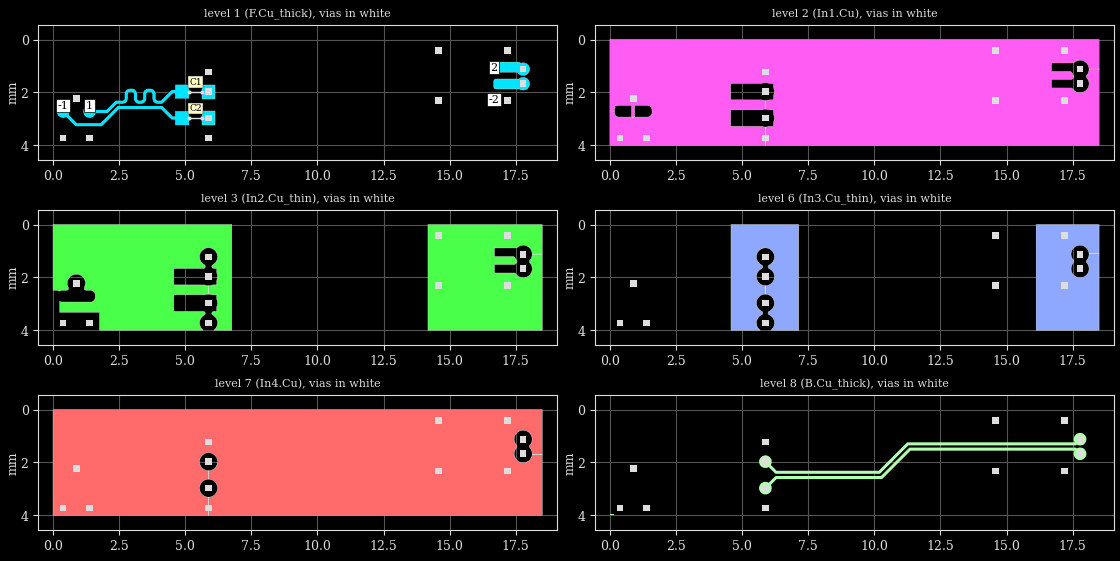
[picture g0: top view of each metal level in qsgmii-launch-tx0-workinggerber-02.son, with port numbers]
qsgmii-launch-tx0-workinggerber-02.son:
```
FTYP SONPROJ 19 ! Sonnet Project File
VER 18.56
HEADER
LIC antikernel2.1.65565
DAT 12/27/2024 07:33:47
BUILT_BY_CREATED xgeom 18.52 11/18/2021 20:28:07
BUILT_BY_SAVED sonnet 18.56
MDATE 12/27/2024 07:33:29
HDATE 12/27/2024 07:33:29
ANN Created by dxfgeo, Sonnet Software Inc.
END HEADER
DIM
ANG DEG
CAP PF
CON /OH
FREQ GHZ
IND NH
LNG MM
RES OH
END DIM
CONTROL
VARSWP
OPTIONS  -dj
SPEED 1
CACHE_ABS 2
Q_ACC N
END CONTROL
GEO
TMET "Free Space" 0 FREESPACE 376.7303136 0 0 0
BMET "Free Space" 0 FREESPACE 376.7303136 0 0 0
MET "Copper_1oz_thin" 1 NOR 58000000 0.5 0.035 
MET "Copper_1oz_thick" 2 TMM 58000000 0.5 0.035 2
MET "Copper_1oz_thick_down" 3 TMM 58000000 0.5 0.035 2 CDVY TDWN
MET "Copper_0.5oz_thin" 4 NOR 58000000 0.5 0.017 
MET "Copper_0.5oz_thick" 12 TMM 58000000 0.5 0.017 2
MET "Copper_0.5oz_thick_down" 5 TMM 58000000 0.5 0.017 2 CDVY TDWN
BOX 10 18.5 4 1850 400 20 0
      5 1 1 0 0 0 0 "Air"
      0.04 3.5 1 0.025 0 0 0 "Soldermask"
      0.095 4.27 1 0.019 0 0 0 "Shengyi_S1000-2MB PP 3313 56%"
      0.1 4.24 1 0.019 0 0 0 "Shengyi_S1000-2M 0.1mm 3313"
      0.114 4.36 1 0.019 0 0 0 "Shengyi_S1000-2MB 2116 54% PP"
      0.77 4.58 1 0.016 0 0 0 "Shengyi_S1000-2M 0.8mm core"
      0.114 4.36 1 0.019 0 0 0 "Shengyi_S1000-2MB 2116 54% PP"
      0.1 4.24 1 0.019 0 0 0 "Shengyi_S1000-2M 0.1mm 3313"
      0.095 4.27 1 0.019 0 0 0 "Shengyi_S1000-2MB PP 3313 56%"
      0.04 3.5 1 0.025 0 0 0 "Soldermask"
      5 1 1 0 0 0 0 "Air"
TECHLAY METAL F.Cu_thick L1D0 -2 -65534 CAD F.Cu_thick drawing 
1 0 1 N 790 1 1 100 100 0 0 0 Y
END
END
TECHLAY METAL F.Cu_thin <UNSPECIFIED> -1 -65534 CAD F.Cu_thin drawing 
1 0 0 N 792 1 1 100 100 0 0 0 Y
END
END
TECHLAY VIA Via1 L7D0 -13 -65534 CAD Via1 drawing 
VIA POLYGON
1 0 -1 N 1077 1 1 100 100 0 0 0 Y
TOLEVEL 8 RING NOCOVERS
END
END
TECHLAY METAL In1.Cu L2D0 -3 -65534 CAD In1.Cu drawing 
2 0 0 N 797 1 1 100 100 0 0 0 Y
END
END
TECHLAY METAL In2.Cu_thin L3D0 -4 -65534 CAD In2.Cu drawing 
3 0 3 N 800 1 1 100 100 0 0 0 Y
END
END
TECHLAY METAL In2.Cu_thick <UNSPECIFIED> -5 -65534 CAD In2.Cu_thick drawing 
3 0 4 N 802 1 1 100 100 0 0 0 Y
END
END
TECHLAY METAL In3.Cu_thin L4D0 -8 -65534 CAD In5.Cu drawing 
6 0 3 N 807 1 1 100 100 0 0 0 Y
END
END
TECHLAY METAL In3.Cu <UNSPECIFIED> -6 -65534 CAD In3.Cu drawing 
6 0 0 N 809 1 1 100 100 0 0 0 Y
END
END
TECHLAY METAL In4.Cu L5D0 -10 -65534 CAD In6.Cu drawing 
7 0 0 N 812 1 1 100 100 0 0 0 Y
END
END
TECHLAY METAL B.Cu_thick L6D0 -12 -65534 CAD B.Cu_thick drawing 
8 0 2 N 815 1 1 100 100 0 0 0 Y
END
END
TECHLAY METAL B.Cu_thin <UNSPECIFIED> -11 -65534 CAD B.Cu_thin drawing 
8 0 0 N 817 1 1 100 100 0 0 0 Y
END
END
TECHLAY METAL In3.Cu_thick <UNSPECIFIED> -9 -65534 CAD In5.Cu_thick drawing 
10 0 5 N 821 1 1 100 100 0 0 0 Y
END
END
VALVAR WIDTH LNG 0.1 "Dim. Param."
VALVAR WIDTH2 LNG "WIDTH" "Dim. Param."
VALVAR SPACE LNG 0.15 "Dim. Param."
LORGN 0 4 U 
POR1 CUP Auto
GNDREF FLOAT
TERMW FEED
POLY 47 1
84
2 100 0 0 0 16.669 1.047 
CUPGRP "Auto" LOCAL
ID 1073
END
POR1 CUP Auto
GNDREF FLOAT
TERMW FEED
POLY 48 1
78
-2 100 0 0 0 16.669 1.682 
CUPGRP "Auto" LOCAL
ID 1074
END
POR1 CUP Auto
GNDREF FLOAT
TERMW FEED
POLY 1010 1
335
1 100 0 0 0 1.381 2.5 
CUPGRP "Auto" LOCAL
ID 1075
END
POR1 CUP Auto
GNDREF FLOAT
TERMW FEED
POLY 1011 1
58
-1 100 0 0 0 0.381 2.5 
CUPGRP "Auto" LOCAL
ID 1076
END
SMD 1 "C1"
ID 1046
GNDREF FLOAT
SBOX 5.2625 5.4995 1.93645 2.00755
PBSHW N
LPOS 5.381 1.93645
TYPE IDEAL CAP 100000
SMDP 1 5.144 1.972 L 3 1 
EXSMDP
GNDREF AUTO
TERMW FEED
END EXSMDP
SMDP 1 5.618 1.972 R 4 2 
EXSMDP
GNDREF AUTO
TERMW FEED
END EXSMDP
END
SMD 1 "C2"
ID 1051
GNDREF FLOAT
SBOX 5.2625 5.4995 2.93645 3.00755
PBSHW N
LPOS 5.381 2.93645
TYPE IDEAL CAP 100000
SMDP 1 5.144 2.972 L 5 1 
EXSMDP
GNDREF AUTO
TERMW FEED
END EXSMDP
SMDP 1 5.618 2.972 R 6 2 
EXSMDP
GNDREF AUTO
TERMW FEED
END EXSMDP
END
NUM 28
1 88 1 N 47 1 1 100 100 0 0 0 Y
TLAYNAM F.Cu_thick INH
16.668 0.943
16.669 0.934
16.671 0.926
16.674 0.917
16.677 0.91
16.681 0.902
16.691 0.888
16.697 0.882
16.711 0.872
16.719 0.868
16.726 0.865
16.735 0.862
16.743 0.86
16.752 0.859
17.611 0.859
17.619 0.86
17.628 0.862
17.644 0.868
17.651 0.872
17.659 0.877
17.665 0.882
17.671 0.888
17.677 0.895
17.682 0.902
17.683 0.904
17.7 0.897
17.723 0.89
17.746 0.885
17.769 0.883
17.793 0.883
17.816 0.885
17.839 0.89
17.862 0.897
17.883 0.906
17.904 0.917
17.924 0.93
17.942 0.945
17.958 0.961
17.973 0.979
17.986 0.999
17.997 1.02
18.006 1.041
18.013 1.064
18.018 1.087
18.02 1.11
18.02 1.134
18.018 1.157
18.013 1.18
18.006 1.203
17.997 1.224
17.986 1.245
17.973 1.265
17.958 1.283
17.942 1.299
17.924 1.314
17.904 1.327
17.883 1.338
17.862 1.347
17.842 1.353
17.72 1.353
17.7 1.347
17.679 1.338
17.658 1.327
17.638 1.314
17.62 1.299
17.604 1.283
17.589 1.265
17.576 1.245
17.571 1.235
16.752 1.235
16.743 1.234
16.735 1.232
16.726 1.229
16.719 1.226
16.711 1.222
16.697 1.212
16.691 1.206
16.681 1.192
16.677 1.184
16.674 1.177
16.671 1.168
16.669 1.16
16.668 1.151
16.668 1.143
16.669 1.134
16.669 0.96
16.668 0.951
16.668 0.943
END
1 82 1 N 48 1 1 100 100 0 0 0 Y
TLAYNAM F.Cu_thick INH
16.668 1.578
16.669 1.569
16.671 1.561
16.674 1.552
16.677 1.545
16.681 1.537
16.691 1.523
16.697 1.517
16.711 1.507
16.719 1.503
16.726 1.5
16.735 1.497
16.743 1.495
16.752 1.494
17.611 1.494
17.619 1.495
17.62 1.495
17.638 1.48
17.658 1.467
17.679 1.456
17.7 1.447
17.72 1.441
17.842 1.441
17.862 1.447
17.883 1.456
17.904 1.467
17.924 1.48
17.942 1.495
17.958 1.511
17.973 1.529
17.986 1.549
17.997 1.57
18.006 1.591
18.013 1.614
18.018 1.637
18.02 1.66
18.02 1.684
18.018 1.707
18.013 1.73
18.006 1.753
17.997 1.774
17.986 1.795
17.973 1.815
17.958 1.833
17.942 1.849
17.924 1.864
17.904 1.877
17.883 1.888
17.862 1.897
17.839 1.904
17.816 1.909
17.793 1.911
17.769 1.911
17.746 1.909
17.723 1.904
17.7 1.897
17.679 1.888
17.658 1.877
17.638 1.864
17.637 1.863
17.628 1.867
17.619 1.869
17.611 1.87
16.752 1.87
16.743 1.869
16.735 1.867
16.726 1.864
16.719 1.861
16.711 1.857
16.697 1.847
16.691 1.841
16.681 1.827
16.677 1.819
16.674 1.812
16.671 1.803
16.669 1.795
16.668 1.786
16.668 1.778
16.669 1.769
16.669 1.595
16.668 1.586
16.668 1.578
END
1 5 1 N 75 1 1 100 100 0 0 0 Y
TLAYNAM F.Cu_thick INH
5.618 1.709
6.144 1.709
6.144 2.235
5.618 2.235
5.618 1.709
END
1 5 1 N 92 1 1 100 100 0 0 0 Y
TLAYNAM F.Cu_thick INH
5.618 2.709
6.144 2.709
6.144 3.235
5.618 3.235
5.618 2.709
END
1 367 1 N 1010 1 1 100 100 0 0 0 Y
TLAYNAM F.Cu_thick INH
1.416 2.957
1.439 2.953
1.461 2.946
1.483 2.937
1.503 2.926
1.523 2.913
1.541 2.898
1.557 2.882
1.572 2.864
1.585 2.844
1.596 2.824
1.605 2.802
1.612 2.78
2.043 2.78
2.049 2.779
2.054 2.778
2.06 2.776
2.07 2.772
2.074 2.768
2.079 2.765
2.414 2.43
2.632 2.43
2.637 2.429
2.641 2.428
2.642 2.428
2.69 2.418
2.692 2.418
2.697 2.417
2.703 2.415
2.708 2.414
2.718 2.408
2.72 2.407
2.722 2.405
2.762 2.375
2.77 2.37
2.778 2.362
2.779 2.36
2.78 2.359
2.781 2.357
2.783 2.355
2.787 2.347
2.807 2.311
2.813 2.301
2.814 2.3
2.816 2.294
2.818 2.289
2.818 2.288
2.819 2.286
2.826 2.238
2.826 2.064
2.831 2.036
2.849 2.005
2.876 1.985
2.913 1.977
2.981 1.977
3.001 1.981
3.031 1.998
3.052 2.027
3.06 2.064
3.06 2.236
3.061 2.241
3.062 2.245
3.062 2.246
3.074 2.304
3.076 2.31
3.078 2.315
3.084 2.325
3.092 2.333
3.113 2.361
3.116 2.366
3.119 2.37
3.12 2.371
3.122 2.375
3.126 2.379
3.131 2.383
3.135 2.386
3.191 2.418
3.197 2.42
3.202 2.422
3.204 2.422
3.206 2.423
3.253 2.43
3.332 2.43
3.337 2.429
3.341 2.428
3.342 2.428
3.39 2.418
3.391 2.418
3.397 2.417
3.403 2.415
3.408 2.414
3.418 2.408
3.42 2.407
3.422 2.405
3.462 2.375
3.47 2.37
3.478 2.362
3.479 2.36
3.48 2.359
3.481 2.357
3.483 2.355
3.487 2.347
3.507 2.311
3.513 2.301
3.514 2.3
3.516 2.294
3.518 2.289
3.518 2.288
3.519 2.286
3.526 2.238
3.526 2.064
3.531 2.034
3.547 2.006
3.576 1.985
3.613 1.977
3.681 1.977
3.701 1.981
3.731 1.998
3.752 2.027
3.76 2.064
3.76 2.236
3.761 2.241
3.762 2.245
3.762 2.246
3.774 2.304
3.776 2.31
3.778 2.315
3.784 2.325
3.792 2.333
3.813 2.361
3.816 2.366
3.819 2.37
3.82 2.371
3.822 2.375
3.826 2.379
3.831 2.383
3.835 2.386
3.891 2.418
3.897 2.42
3.902 2.422
3.904 2.422
3.906 2.423
3.953 2.43
4.109 2.43
4.114 2.429
4.12 2.428
4.125 2.426
4.131 2.424
4.136 2.422
4.14 2.418
4.145 2.415
4.53 2.03
4.618 2.03
4.618 2.235
5.144 2.235
5.144 1.709
4.618 1.709
4.618 1.914
4.503 1.914
4.498 1.915
4.492 1.916
4.487 1.918
4.481 1.92
4.476 1.922
4.472 1.926
4.467 1.929
4.082 2.314
3.956 2.314
3.936 2.31
3.906 2.293
3.883 2.262
3.876 2.227
3.876 2.055
3.875 2.05
3.874 2.046
3.874 2.045
3.864 1.997
3.864 1.995
3.863 1.991
3.863 1.99
3.862 1.987
3.861 1.985
3.86 1.982
3.86 1.98
3.858 1.976
3.852 1.966
3.849 1.963
3.824 1.93
3.821 1.925
3.818 1.921
3.817 1.92
3.815 1.916
3.811 1.912
3.806 1.908
3.802 1.905
3.746 1.873
3.74 1.871
3.735 1.869
3.733 1.869
3.731 1.868
3.684 1.861
3.604 1.861
3.599 1.862
3.595 1.863
3.594 1.863
3.546 1.873
3.544 1.873
3.54 1.874
3.539 1.874
3.536 1.875
3.534 1.876
3.531 1.876
3.53 1.877
3.529 1.877
3.525 1.879
3.515 1.885
3.512 1.888
3.479 1.913
3.474 1.916
3.47 1.919
3.469 1.92
3.465 1.922
3.461 1.926
3.457 1.931
3.454 1.935
3.422 1.991
3.42 1.997
3.418 2.002
3.417 2.007
3.416 2.013
3.416 2.019
3.412 2.044
3.412 2.045
3.411 2.051
3.41 2.056
3.41 2.235
3.406 2.255
3.388 2.286
3.361 2.306
3.323 2.314
3.255 2.314
3.236 2.31
3.206 2.293
3.183 2.262
3.176 2.227
3.176 2.055
3.175 2.05
3.174 2.046
3.174 2.045
3.164 1.997
3.164 1.995
3.163 1.991
3.163 1.99
3.162 1.987
3.161 1.985
3.16 1.982
3.16 1.98
3.158 1.976
3.152 1.966
3.149 1.963
3.124 1.93
3.121 1.925
3.118 1.921
3.117 1.92
3.115 1.916
3.111 1.912
3.106 1.908
3.102 1.905
3.046 1.873
3.04 1.871
3.035 1.869
3.034 1.869
3.032 1.868
2.984 1.861
2.904 1.861
2.899 1.862
2.895 1.863
2.894 1.863
2.846 1.873
2.844 1.873
2.84 1.874
2.839 1.874
2.836 1.875
2.834 1.876
2.831 1.876
2.83 1.877
2.829 1.877
2.825 1.879
2.815 1.885
2.812 1.888
2.775 1.916
2.767 1.921
2.759 1.929
2.758 1.931
2.757 1.932
2.756 1.934
2.754 1.936
2.75 1.944
2.73 1.98
2.724 1.99
2.723 1.991
2.721 1.997
2.719 2.002
2.718 2.004
2.718 2.007
2.717 2.013
2.712 2.044
2.712 2.045
2.711 2.051
2.71 2.056
2.71 2.235
2.706 2.255
2.688 2.286
2.661 2.306
2.623 2.314
2.386 2.314
2.381 2.315
2.375 2.316
2.37 2.318
2.364 2.32
2.359 2.322
2.355 2.326
2.35 2.329
2.344 2.335
2.016 2.664
1.612 2.664
1.605 2.642
1.596 2.62
1.585 2.6
1.572 2.58
1.557 2.562
1.541 2.546
1.523 2.531
1.503 2.518
1.483 2.507
1.465888889 2.5
1.296111111 2.5
1.279 2.507
1.259 2.518
1.239 2.531
1.221 2.546
1.205 2.562
1.19 2.58
1.177 2.6
1.166 2.62
1.157 2.642
1.15 2.664
1.146 2.687
1.144 2.71
1.144 2.734
1.146 2.757
1.15 2.78
1.157 2.802
1.166 2.824
1.177 2.844
1.19 2.864
1.205 2.882
1.221 2.898
1.239 2.913
1.259 2.926
1.279 2.937
1.301 2.946
1.323 2.953
1.346 2.957
1.369 2.959
1.393 2.959
1.416 2.957
END
1 104 1 N 1011 1 1 100 100 0 0 0 Y
TLAYNAM F.Cu_thick INH
1.831 3.279
1.836 3.278
1.842 3.276
1.852 3.272
1.857 3.268
1.861 3.265
2.496 2.63
4.082 2.63
4.467 3.015
4.472 3.018
4.476 3.022
4.481 3.024
4.487 3.026
4.492 3.028
4.498 3.029
4.503 3.03
4.618 3.03
4.618 3.235
5.144 3.235
5.144 2.709
4.618 2.709
4.618 2.914
4.53 2.914
4.145 2.529
4.14 2.526
4.136 2.522
4.131 2.52
4.125 2.518
4.12 2.516
4.114 2.515
4.109 2.514
2.469 2.514
2.463 2.515
2.458 2.516
2.452 2.518
2.442 2.522
2.438 2.526
2.433 2.529
1.798 3.164
0.905 3.164
0.585 2.844
0.596 2.824
0.605 2.802
0.612 2.78
0.616 2.757
0.618 2.734
0.618 2.71
0.616 2.687
0.612 2.664
0.605 2.642
0.596 2.62
0.585 2.6
0.572 2.58
0.557 2.562
0.541 2.546
0.523 2.531
0.503 2.518
0.483 2.507
0.4658888889 2.5
0.2961111111 2.5
0.279 2.507
0.259 2.518
0.239 2.531
0.221 2.546
0.205 2.562
0.19 2.58
0.177 2.6
0.166 2.62
0.157 2.642
0.15 2.664
0.146 2.687
0.144 2.71
0.144 2.734
0.146 2.757
0.15 2.78
0.157 2.802
0.166 2.824
0.177 2.844
0.19 2.864
0.205 2.882
0.221 2.898
0.239 2.913
0.259 2.926
0.279 2.937
0.301 2.946
0.323 2.953
0.346 2.957
0.369 2.959
0.393 2.959
0.416 2.957
0.439 2.953
0.461 2.946
0.483 2.937
0.503 2.926
0.842 3.265
0.847 3.268
0.851 3.272
0.856 3.274
0.862 3.276
0.867 3.278
0.873 3.279
0.878 3.28
1.825 3.28
1.831 3.279
END
VIA POLYGON
1 5 -1 N 547 1 1 100 100 0 0 0 Y
TOLEVEL 8 RING NOCOVERS
TLAYNAM Via1 INH
14.456 0.287
14.706 0.287
14.706 0.537
14.456 0.537
14.456 0.287
END
VIA POLYGON
1 5 -1 N 548 1 1 100 100 0 0 0 Y
TOLEVEL 8 RING NOCOVERS
TLAYNAM Via1 INH
14.456 2.192
14.706 2.192
14.706 2.442
14.456 2.442
14.456 2.192
END
VIA POLYGON
1 5 -1 N 554 1 1 100 100 0 0 0 Y
TOLEVEL 8 RING NOCOVERS
TLAYNAM Via1 INH
17.056 0.287
17.306 0.287
17.306 0.537
17.056 0.537
17.056 0.287
END
VIA POLYGON
1 5 -1 N 555 1 1 100 100 0 0 0 Y
TOLEVEL 8 RING NOCOVERS
TLAYNAM Via1 INH
17.056 2.192
17.306 2.192
17.306 2.442
17.056 2.442
17.056 2.192
END
VIA POLYGON
1 5 -1 N 560 1 1 100 100 0 0 0 Y
TOLEVEL 8 RING NOCOVERS
TLAYNAM Via1 INH
5.756 1.097
6.006 1.097
6.006 1.347
5.756 1.347
5.756 1.097
END
VIA POLYGON
1 5 -1 N 561 1 1 100 100 0 0 0 Y
TOLEVEL 8 RING NOCOVERS
TLAYNAM Via1 INH
5.756 1.847
6.006 1.847
6.006 2.097
5.756 2.097
5.756 1.847
END
VIA POLYGON
1 5 -1 N 562 1 1 100 100 0 0 0 Y
TOLEVEL 8 RING NOCOVERS
TLAYNAM Via1 INH
17.656 0.997
17.906 0.997
17.906 1.247
17.656 1.247
17.656 0.997
END
VIA POLYGON
1 5 -1 N 563 1 1 100 100 0 0 0 Y
TOLEVEL 8 RING NOCOVERS
TLAYNAM Via1 INH
17.656 1.547
17.906 1.547
17.906 1.797
17.656 1.797
17.656 1.547
END
VIA POLYGON
1 5 -1 N 568 1 1 100 100 0 0 0 Y
TOLEVEL 8 RING NOCOVERS
TLAYNAM Via1 INH
5.756 2.847
6.006 2.847
6.006 3.097
5.756 3.097
5.756 2.847
END
VIA POLYGON
1 5 -1 N 569 1 1 100 100 0 0 0 Y
TOLEVEL 8 RING NOCOVERS
TLAYNAM Via1 INH
5.756 3.597
6.006 3.597
6.006 3.847
5.756 3.847
5.756 3.597
END
VIA POLYGON
1 5 -1 N 619 1 1 100 100 0 0 0 Y
TOLEVEL 8 RING NOCOVERS
TLAYNAM Via1 INH
0.256 3.597
0.506 3.597
0.506 3.847
0.256 3.847
0.256 3.597
END
VIA POLYGON
1 5 -1 N 622 1 1 100 100 0 0 0 Y
TOLEVEL 8 RING NOCOVERS
TLAYNAM Via1 INH
0.756 2.097
1.006 2.097
1.006 2.347
0.756 2.347
0.756 2.097
END
VIA POLYGON
1 5 -1 N 627 1 1 100 100 0 0 0 Y
TOLEVEL 8 RING NOCOVERS
TLAYNAM Via1 INH
1.256 3.597
1.506 3.597
1.506 3.847
1.256 3.847
1.256 3.597
END
2 243 0 N 997 1 1 100 100 0 0 0 Y
TLAYNAM In1.Cu INH
18.5 1.118
18.5 1.118
18.123 1.118
18.118 1.18
18.101 1.241
18.074 1.298
18.036 1.348
18.028 1.358
18.022 1.369
18.018 1.381
18.016 1.394
18.017 1.407
18.02 1.419
18.025 1.431
18.032 1.442
18.041 1.451
18.051 1.462
18.085 1.516
18.109 1.575
18.122 1.637
18.123 1.701
18.112 1.764
18.09 1.824
18.057 1.878
18.014 1.926
17.963 1.964
17.906 1.993
17.845 2.011
17.787 2.017
17.775 2.017
17.714 2.01
17.65 1.991
17.592 1.959
17.54 1.917
17.498 1.866
17.491 1.856
17.482 1.848
17.472 1.841
17.461 1.836
17.449 1.834
17.437 1.833
17.425 1.834
16.695 1.833
16.695 1.511
17.411 1.51
17.426 1.511
17.441 1.51
17.455 1.506
17.469 1.5
17.482 1.492
17.493 1.482
17.501 1.476
17.508 1.469
17.514 1.461
17.525 1.451
17.534 1.439
17.541 1.425
17.545 1.41
17.546 1.395
17.544 1.38
17.54 1.365
17.532 1.351
17.522 1.34
17.51 1.33
17.506 1.323
17.466 1.251
17.46 1.241
17.452 1.233
17.442 1.226
17.428 1.218
17.413 1.212
17.397 1.209
16.695 1.209
16.695 0.885
16.722 0.886
17.488 0.885
17.502 0.885
17.516 0.883
17.529 0.878
17.553 0.867
17.589 0.841
17.621 0.825
17.626 0.823
17.648 0.812
17.659 0.805
17.67 0.799
17.683 0.796
17.695 0.794
17.755 0.782
17.795 0.78
17.798 0.779
17.85 0.785
17.903 0.801
17.951 0.826
17.984 0.848
18.031 0.889
18.07 0.939
18.098 0.995
18.116 1.055
18.123 1.118
18.5 1.118
18.5 0
0 0
0 2.704
0.168 2.704
0.173 2.646
0.189 2.591
0.193 2.578
0.195 2.564
0.193 2.551
0.19 2.538
0.184 2.526
0.175 2.515
0.1683333333 2.509
0.208 2.509
0.223 2.512
0.239 2.513
0.254 2.511
0.269 2.507
0.314 2.489
0.322 2.487
0.823 2.487
0.823 2.934
0.939 2.934
0.939 2.487
1.439 2.487
1.46 2.49
1.481 2.498
1.5 2.508
1.518 2.521
1.531 2.531
1.543 2.542
1.554 2.555
1.571 2.582
1.582 2.607
1.59 2.636
1.594 2.735
1.595 2.769
1.589 2.802
1.578 2.833
1.56 2.862
1.538 2.887
1.511 2.907
1.481 2.922
1.449 2.931
1.416 2.934
0.939 2.934
0.823 2.934
0.823 2.934
0.34 2.934
0.311 2.931
0.282 2.923
0.255 2.911
0.231 2.893
0.21 2.872
0.194 2.847
0.182 2.82
0.175 2.791
0.173 2.762
0.168 2.704
0 2.704
0 2.704
0 4
5.886 4
5.886 3.313
5.87 3.313
5.834 3.31
5.799 3.302
5.738 3.285
5.731 3.285
4.569 3.283
4.569 2.661
4.712 2.66
5.728 2.66
5.75 2.656
5.78 2.646
5.825 2.635
5.87 2.632
5.87 2.313
5.87 2.313
5.834 2.31
5.799 2.302
5.738 2.285
5.731 2.285
4.569 2.283
4.569 1.661
4.573 1.661
4.712 1.66
5.719 1.66
5.75 1.655
5.78 1.646
5.84 1.635
5.878 1.633
5.89 1.633
5.932 1.636
5.973 1.645
6.028 1.659
6.191 1.661
6.194 1.827
6.201 1.853
6.217 1.912
6.222 1.974
6.216 2.035
6.199 2.095
6.194 2.115
6.192 2.135
6.194 2.156
6.191 2.283
6.068 2.284
6.04 2.283
6.012 2.288
5.986 2.297
5.937 2.308
5.886 2.313
5.87 2.313
5.87 2.632
5.875 2.632
5.919 2.636
5.937 2.637
5.983 2.647
6.004 2.655
6.026 2.659
6.049 2.66
6.191 2.661
6.194 2.827
6.201 2.853
6.217 2.912
6.222 2.974
6.216 3.035
6.199 3.095
6.194 3.115
6.192 3.135
6.194 3.156
6.191 3.283
6.068 3.284
6.04 3.283
6.012 3.288
5.986 3.297
5.937 3.308
5.886 3.313
5.886 4
18.5 4
18.5 1.118
END
3 105 3 N 1019 1 1 100 100 0 0 0 Y
TLAYNAM In2.Cu_thin INH
18.5 2.34
18.5 1.118
18.123 1.118
18.118 1.18
18.101 1.241
18.074 1.298
18.036 1.348
18.028 1.358
18.022 1.369
18.018 1.381
18.016 1.394
18.017 1.407
18.02 1.419
18.025 1.431
18.032 1.442
18.041 1.451
18.051 1.462
18.085 1.516
18.109 1.575
18.122 1.637
18.123 1.701
18.112 1.764
18.09 1.824
18.057 1.878
18.014 1.926
17.963 1.964
17.906 1.993
17.845 2.011
17.787 2.017
17.775 2.017
17.714 2.01
17.65 1.99
17.592 1.959
17.54 1.917
17.498 1.866
17.491 1.856
17.482 1.848
17.472 1.841
17.461 1.836
17.449 1.834
17.437 1.833
17.425 1.834
16.695 1.833
16.695 1.511
17.411 1.51
17.424 1.512
17.438 1.512
17.452 1.509
17.465 1.504
17.477 1.497
17.487 1.488
17.514 1.461
17.525 1.451
17.534 1.439
17.541 1.425
17.545 1.41
17.546 1.395
17.544 1.38
17.54 1.365
17.532 1.351
17.522 1.34
17.51 1.33
17.506 1.323
17.466 1.251
17.46 1.241
17.452 1.233
17.442 1.226
17.428 1.218
17.413 1.212
17.397 1.209
16.695 1.209
16.695 0.885
16.722 0.886
17.488 0.885
17.502 0.885
17.516 0.883
17.529 0.878
17.553 0.867
17.589 0.841
17.621 0.825
17.626 0.823
17.648 0.812
17.659 0.805
17.67 0.799
17.683 0.796
17.695 0.794
17.755 0.782
17.795 0.78
17.798 0.779
17.85 0.785
17.903 0.801
17.951 0.826
17.984 0.848
18.031 0.889
18.07 0.939
18.098 0.995
18.116 1.055
18.123 1.118
18.5 1.118
18.5 1.118
18.5 0
14.18 0
14.18 4
18.5 4
18.5 2.34
END
3 261 3 N 1029 1 1 100 100 0 0 0 Y
TLAYNAM In2.Cu_thin INH
6.76 0.82
6.76 0
0 0
0 0.82
0 2.485
0.1741818182 2.485
0.178 2.491
0.187 2.5
0.197 2.508
0.208 2.513
0.22 2.516
0.233 2.518
0.246 2.516
0.258 2.513
0.269 2.507
0.314 2.489
0.322 2.487
0.519 2.484
0.532 2.482
0.545 2.478
0.556 2.471
0.566 2.463
0.574 2.452
0.581 2.441
0.585 2.428
0.586 2.415
0.585 2.402
0.582 2.389
0.56 2.341
0.542 2.285
0.535 2.226
0.539 2.167
0.554 2.11
0.581 2.057
0.6 2.024
0.625 1.995
0.654 1.963
0.688 1.936
0.726 1.915
0.767 1.901
0.823 1.885
0.882 1.878
0.947 1.884
1.01 1.901
1.069 1.931
1.12 1.971
1.163 2.021
1.196 2.078
1.216 2.14
1.225 2.205
1.22 2.271
1.203 2.334
1.186 2.373
1.178 2.404
1.177 2.417
1.178 2.429
1.181 2.441
1.186 2.453
1.194 2.463
1.203 2.471
1.214 2.478
1.226 2.482
1.238 2.484
1.251 2.484
1.386 2.486
1.421 2.485
1.456 2.491
1.488 2.503
1.518 2.521
1.544 2.544
1.566 2.571
1.582 2.602
1.592 2.635
1.596 2.67
1.593 2.704
1.592 2.776
1.585 2.808
1.572 2.838
1.555 2.865
1.532 2.889
1.506 2.908
1.477 2.922
1.446 2.931
1.414 2.935
1.382 2.932
0.876 2.932
0.322 2.931
0.314 2.93
0.257 2.907
0.25 2.899222222
0.25 3.32
1.76 3.32
1.76 4
5.683525 4
5.644 3.969
5.601 3.919
5.569 3.863
5.548 3.801
5.539 3.736
5.542 3.671
5.558 3.608
5.586 3.549
5.624 3.496
5.672 3.451
5.727 3.417
5.737 3.409
5.745 3.4
5.752 3.389
5.756 3.377
5.758 3.365
5.758 3.353
5.756 3.34
5.751 3.329
5.745 3.318
5.736 3.309
5.724 3.299
5.711 3.291
5.696 3.286
5.681 3.284
4.569 3.283
4.569 2.661
4.712 2.66
5.728 2.66
5.815 2.638
5.874 2.632
5.881 2.632
5.881 2.314
5.869 2.314
5.836 2.311
5.799 2.303
5.738 2.285
5.731 2.285
4.569 2.283
4.569 1.661
4.712 1.66
5.687 1.659
5.7 1.659
5.712 1.656
5.723 1.651
5.734 1.644
5.742 1.635
5.749 1.624
5.754 1.613
5.757 1.6
5.757 1.585
5.755 1.569
5.75 1.555
5.742 1.541
5.731 1.53
5.719 1.52
5.705 1.514
5.654 1.476
5.611 1.429
5.577 1.376
5.554 1.317
5.542 1.255
5.541 1.191
5.553 1.129
5.575 1.07
5.608 1.016
5.651 0.969
5.701 0.931
5.758 0.902
5.819 0.885
5.877 0.879
5.882 0.879
5.945 0.885
6.006 0.902
6.062 0.93
6.112 0.968
6.155 1.015
6.188 1.069
6.212 1.13
6.223 1.196
6.222 1.262
6.207 1.327
6.181 1.388
6.143 1.442
6.095 1.489
6.04 1.525
6.029 1.532
6.02 1.54
6.013 1.55
6.007 1.562
6.004 1.574
6.003 1.586
6.005 1.598
6.008 1.61
6.014 1.621
6.022 1.631
6.03 1.639
6.038 1.646
6.048 1.651
6.059 1.654
6.085 1.66
6.191 1.66
6.194 1.827
6.201 1.853
6.217 1.912
6.223 1.974
6.216 2.035
6.199 2.095
6.194 2.115
6.192 2.135
6.194 2.156
6.191 2.283
6.068 2.284
6.041 2.283
6.013 2.287
5.987 2.296
5.931 2.31
5.881 2.314
5.881 2.632
5.881 2.632
5.949 2.638
6.014 2.657
6.036 2.66
6.191 2.661
6.194 2.827
6.201 2.853
6.217 2.912
6.223 2.974
6.217 3.036
6.199 3.096
6.195 3.112
6.193 3.129
6.194 3.146
6.191 3.284
6.133 3.284
6.112 3.281
6.091 3.281
6.071 3.284
6.051 3.292
6.033 3.303
6.024 3.311
6.016 3.32
6.01 3.331
6.006 3.342
6.004 3.355
6.004 3.367
6.007 3.379
6.012 3.39
6.018 3.401
6.027 3.409
6.034 3.417
6.043 3.423
6.052 3.427
6.089 3.451
6.15 3.513
6.175 3.55
6.19 3.577
6.211 3.636
6.221 3.697
6.22 3.759
6.208 3.82
6.184 3.878
6.151 3.93
6.109 3.976
6.076567484 4
6.76 4
6.76 0.82
END
6 81 3 N 1033 1 1 100 100 0 0 0 Y
TLAYNAM In3.Cu_thin INH
18.5 1.107
18.5 1.107
18.122 1.107
18.119 1.172
18.103 1.235
18.076 1.294
18.038 1.346
18.029 1.356
18.022 1.367
18.017 1.38
18.015 1.393
18.016 1.406
18.019 1.419
18.024 1.431
18.032 1.442
18.041 1.451
18.051 1.462
18.085 1.516
18.109 1.575
18.121 1.637
18.122 1.701
18.111 1.763
18.089 1.823
18.056 1.877
18.013 1.924
17.963 1.963
17.906 1.991
17.845 2.009
17.781 2.015
17.716 2.008
17.653 1.99
17.595 1.959
17.543 1.918
17.501 1.869
17.469 1.811
17.448 1.749
17.44 1.684
17.444 1.619
17.46 1.555
17.489 1.496
17.528 1.444
17.536 1.431
17.542 1.417
17.546 1.402
17.546 1.387
17.543 1.372
17.538 1.358
17.53 1.345
17.52 1.334
17.507 1.325
17.499 1.315
17.469 1.263
17.449 1.203
17.44 1.158
17.438 1.111
17.444 1.065
17.454 1.016
17.473 0.97
17.498 0.928
17.531 0.891
17.559 0.862
17.59 0.838
17.626 0.819
17.675 0.798
17.728 0.786
17.777 0.781
17.781 0.781
17.846 0.787
17.908 0.806
17.966 0.836
18.017 0.876
18.059 0.925
18.092 0.981
18.113 1.043
18.122 1.107
18.5 1.107
18.5 0
16.12 0
16.12 4
18.5 4
18.5 1.107
END
6 195 3 N 1035 1 1 100 100 0 0 0 Y
TLAYNAM In3.Cu_thin INH
7.142 0
4.58 0
4.58 4
5.684870933 4
5.673 3.992
5.632 3.954
5.593 3.903
5.563 3.845
5.546 3.783
5.54 3.718
5.547 3.654
5.566 3.592
5.596 3.535
5.637 3.484
5.686 3.442
5.743 3.411
5.754 3.403
5.764 3.394
5.772 3.383
5.777 3.371
5.78 3.358
5.781 3.345
5.779 3.331
5.775 3.319
5.768 3.307
5.76 3.297
5.75 3.288
5.739 3.281
5.727 3.276
5.695 3.258
5.667 3.234
5.622 3.192
5.586 3.143
5.56 3.088
5.544 3.029
5.539 2.968
5.545 2.908
5.55 2.887
5.562 2.846
5.579 2.808
5.602 2.773
5.63 2.741
5.657 2.713
5.688 2.689
5.722 2.671
5.738 2.662
5.784 2.645
5.831 2.635
5.875 2.631
5.882 2.631
5.882 2.314
5.88 2.314
5.824 2.309
5.77 2.295
5.719 2.273
5.673 2.242
5.632 2.204
5.592 2.153
5.563 2.095
5.546 2.033
5.54 1.968
5.547 1.904
5.566 1.842
5.596 1.785
5.637 1.734
5.686 1.692
5.743 1.661
5.754 1.653
5.764 1.644
5.772 1.633
5.777 1.621
5.78 1.608
5.781 1.595
5.779 1.581
5.775 1.569
5.768 1.557
5.76 1.547
5.75 1.538
5.739 1.531
5.727 1.526
5.695 1.508
5.667 1.484
5.622 1.442
5.586 1.393
5.56 1.338
5.544 1.279
5.539 1.219
5.545 1.158
5.556 1.11
5.575 1.065
5.601 1.024
5.634 0.988
5.651 0.968
5.672 0.951
5.695 0.937
5.711 0.926
5.731 0.916
5.779 0.897
5.829 0.886
5.88 0.882
5.938 0.887
5.995 0.901
6.047 0.926
6.051 0.927
6.084 0.948
6.105 0.965
6.123 0.984
6.165 1.034
6.196 1.09
6.216 1.151
6.224 1.216
6.219 1.28
6.202 1.342
6.173 1.4
6.134 1.451
6.085 1.494
6.062 1.511
6.017 1.535
6.007 1.542
5.997 1.55
5.989 1.561
5.984 1.572
5.98 1.585
5.979 1.598
5.981 1.61
5.985 1.623
5.991 1.634
5.998 1.644
6.009 1.654
6.021 1.662
6.035 1.668
6.077 1.692
6.128 1.736
6.168 1.782
6.198 1.836
6.218 1.895
6.226 1.956
6.221 2.017
6.212 2.07
6.192 2.121
6.164 2.167
6.128 2.207
6.119 2.218
6.089 2.244
6.065 2.261
6.04 2.274
6.027 2.281
5.98 2.3
5.931 2.311
5.882 2.314
5.882 2.631
5.887 2.631
5.947 2.638
6.011 2.657
6.069 2.689
6.121 2.73
6.163 2.782
6.194 2.84
6.214 2.903
6.221 2.969
6.215 3.035
6.197 3.099
6.167 3.157
6.126 3.209
6.075 3.252
6.017 3.285
6.007 3.292
5.997 3.3
5.989 3.311
5.984 3.322
5.98 3.335
5.979 3.348
5.981 3.36
5.985 3.373
5.991 3.384
5.998 3.394
6.009 3.404
6.021 3.412
6.035 3.418
6.077 3.442
6.128 3.486
6.168 3.532
6.199 3.586
6.218 3.645
6.226 3.706
6.221 3.767
6.212 3.82
6.192 3.871
6.164 3.917
6.128 3.957
6.119 3.968
6.089 3.994
6.080529846 4
7.142 4
7.142 0
END
7 164 0 N 1039 1 1 100 100 0 0 0 Y
TLAYNAM In4.Cu INH
18.5 2.36
18.5 1.701
18.123 1.701
18.122 1.707
18.112 1.763
18.089 1.823
18.056 1.877
18.014 1.925
17.963 1.963
17.906 1.992
17.845 2.009
17.782 2.015
17.766 2.015
17.704 2.006
17.644 1.987
17.589 1.956
17.541 1.916
17.501 1.868
17.47 1.814
17.449 1.755
17.44 1.693
17.442 1.63
17.456 1.569
17.48 1.511
17.515 1.459
17.526 1.446
17.535 1.432
17.54 1.416
17.542 1.399
17.541 1.382
17.537 1.365
17.53 1.35
17.52 1.337
17.507 1.325
17.499 1.315
17.469 1.263
17.449 1.203
17.44 1.158
17.438 1.111
17.444 1.065
17.454 1.016
17.473 0.97
17.498 0.928
17.531 0.891
17.558 0.862
17.59 0.838
17.626 0.819
17.67 0.798
17.717 0.785
17.765 0.781
17.781 0.781
17.835 0.785
17.888 0.798
17.939 0.821
17.972 0.839
18.002 0.862
18.029 0.89
18.067 0.939
18.096 0.995
18.114 1.055
18.121 1.117
18.116 1.18
18.1 1.241
18.073 1.297
18.037 1.348
18.028 1.358
18.021 1.369
18.017 1.381
18.015 1.394
18.016 1.407
18.019 1.42
18.024 1.431
18.032 1.442
18.041 1.451
18.051 1.462
18.085 1.516
18.109 1.575
18.122 1.637
18.123 1.701
18.5 1.701
18.5 1.701
18.5 0
0 0
0 0.5423636364
0 0.901974359
0 1.542363636
0 1.901974359
0 2.542363636
0 2.901974359
0 3.542181818
0 4
5.881 4
5.881 3.314
5.814 3.308
5.75 3.288
5.691 3.257
5.639 3.214
5.596 3.162
5.565 3.103
5.545 3.039
5.539 2.972
5.545 2.905
5.565 2.841
5.596 2.782
5.639 2.73
5.691 2.687
5.75 2.656
5.814 2.636
5.881 2.63
5.881 2.314
5.814 2.308
5.75 2.288
5.691 2.257
5.639 2.214
5.596 2.162
5.565 2.103
5.545 2.039
5.539 1.972
5.545 1.905
5.565 1.841
5.596 1.782
5.639 1.73
5.691 1.688
5.75 1.656
5.814 1.636
5.881 1.63
5.947 1.636
6.01 1.655
6.069 1.686
6.12 1.728
6.161 1.775
6.192 1.829
6.212 1.888
6.222 1.949
6.221 2.011
6.208 2.072
6.185 2.13
6.151 2.182
6.109 2.227
6.059 2.264
6.003 2.292
5.943 2.309
5.881 2.314
5.881 2.314
5.881 2.63
5.948 2.636
6.012 2.656
6.071 2.687
6.123 2.73
6.165 2.782
6.197 2.841
6.217 2.905
6.223 2.972
6.217 3.039
6.197 3.103
6.165 3.162
6.123 3.214
6.071 3.257
6.012 3.288
5.948 3.308
5.881 3.314
5.881 4
18.5 4
18.5 2.36
END
8 151 2 N 337 1 1 100 100 0 0 0 Y
TLAYNAM B.Cu_thick INH
5.642 1.96
5.644 1.937
5.649 1.914
5.656 1.891
5.665 1.87
5.676 1.849
5.689 1.829
5.704 1.811
5.72 1.795
5.738 1.78
5.758 1.767
5.779 1.756
5.8 1.747
5.823 1.74
5.846 1.735
5.869 1.733
5.893 1.733
5.916 1.735
5.939 1.74
5.962 1.747
5.983 1.756
6.004 1.767
6.024 1.78
6.042 1.795
6.058 1.811
6.073 1.829
6.086 1.849
6.097 1.87
6.106 1.891
6.113 1.914
6.118 1.937
6.12 1.96
6.12 1.984
6.118 2.007
6.113 2.03
6.106 2.053
6.097 2.074
6.086 2.095
6.305 2.314
10.166 2.314
11.226 1.254
11.23 1.251
11.235 1.247
11.245 1.243
11.251 1.241
11.256 1.24
11.262 1.239
17.573 1.239
17.565 1.224
17.556 1.203
17.549 1.18
17.544 1.157
17.542 1.134
17.542 1.11
17.544 1.087
17.549 1.064
17.556 1.041
17.565 1.02
17.576 0.999
17.589 0.979
17.604 0.961
17.62 0.945
17.638 0.93
17.658 0.917
17.679 0.906
17.7 0.897
17.723 0.89
17.746 0.885
17.769 0.883
17.793 0.883
17.816 0.885
17.839 0.89
17.862 0.897
17.883 0.906
17.904 0.917
17.924 0.93
17.942 0.945
17.958 0.961
17.973 0.979
17.986 0.999
17.997 1.02
18.006 1.041
18.013 1.064
18.018 1.087
18.02 1.11
18.02 1.134
18.018 1.157
18.013 1.18
18.006 1.203
17.997 1.224
17.986 1.245
17.973 1.265
17.958 1.283
17.942 1.299
17.924 1.314
17.904 1.327
17.883 1.338
17.862 1.347
17.842 1.353
17.72 1.353
17.7 1.347
17.679 1.338
17.658 1.327
17.645 1.34
17.64 1.343
17.636 1.347
17.631 1.349
17.625 1.351
17.62 1.353
17.614 1.354
17.609 1.355
11.289 1.355
10.229 2.415
10.224 2.418
10.22 2.422
10.215 2.424
10.209 2.426
10.204 2.428
10.198 2.429
10.193 2.43
6.278 2.43
6.273 2.429
6.267 2.428
6.262 2.426
6.256 2.424
6.251 2.422
6.247 2.418
6.242 2.415
6.004 2.177
5.983 2.188
5.962 2.197
5.939 2.204
5.916 2.209
5.893 2.211
5.869 2.211
5.846 2.209
5.823 2.204
5.8 2.197
5.779 2.188
5.758 2.177
5.738 2.164
5.72 2.149
5.704 2.133
5.689 2.115
5.676 2.095
5.665 2.074
5.656 2.053
5.649 2.03
5.644 2.007
5.642 1.984
5.642 1.96
END
8 150 2 N 338 1 1 100 100 0 0 0 Y
TLAYNAM B.Cu_thick INH
5.642 2.96
5.644 2.937
5.649 2.914
5.656 2.891
5.665 2.87
5.676 2.849
5.689 2.829
5.704 2.811
5.72 2.795
5.738 2.78
5.758 2.767
5.779 2.756
5.8 2.747
5.823 2.74
5.846 2.735
5.869 2.733
5.893 2.733
5.916 2.735
5.939 2.74
5.962 2.747
5.983 2.756
6.004 2.767
6.242 2.529
6.246 2.526
6.251 2.522
6.261 2.518
6.267 2.516
6.272 2.515
6.278 2.514
10.248 2.514
11.308 1.454
11.313 1.451
11.317 1.447
11.322 1.445
11.328 1.443
11.333 1.441
11.339 1.44
11.344 1.439
17.609 1.439
17.614 1.44
17.62 1.441
17.625 1.443
17.631 1.445
17.636 1.447
17.64 1.451
17.645 1.454
17.658 1.467
17.679 1.456
17.7 1.447
17.72 1.441
17.842 1.441
17.862 1.447
17.883 1.456
17.904 1.467
17.924 1.48
17.942 1.495
17.958 1.511
17.973 1.529
17.986 1.549
17.997 1.57
18.006 1.591
18.013 1.614
18.018 1.637
18.02 1.66
18.02 1.684
18.018 1.707
18.013 1.73
18.006 1.753
17.997 1.774
17.986 1.795
17.973 1.815
17.958 1.833
17.942 1.849
17.924 1.864
17.904 1.877
17.883 1.888
17.862 1.897
17.839 1.904
17.816 1.909
17.793 1.911
17.769 1.911
17.746 1.909
17.723 1.904
17.7 1.897
17.679 1.888
17.658 1.877
17.638 1.864
17.62 1.849
17.604 1.833
17.589 1.815
17.576 1.795
17.565 1.774
17.556 1.753
17.549 1.73
17.544 1.707
17.542 1.684
17.542 1.66
17.544 1.637
17.549 1.614
17.556 1.591
17.565 1.57
17.573 1.555
11.371 1.555
10.311 2.615
10.306 2.618
10.302 2.622
10.292 2.626
10.286 2.628
10.281 2.629
10.275 2.63
6.305 2.63
6.086 2.849
6.097 2.87
6.106 2.891
6.113 2.914
6.118 2.937
6.12 2.96
6.12 2.984
6.118 3.007
6.113 3.03
6.106 3.053
6.097 3.074
6.086 3.095
6.073 3.115
6.058 3.133
6.042 3.149
6.024 3.164
6.004 3.177
5.983 3.188
5.962 3.197
5.939 3.204
5.916 3.209
5.893 3.211
5.869 3.211
5.846 3.209
5.823 3.204
5.8 3.197
5.779 3.188
5.758 3.177
5.738 3.164
5.72 3.149
5.704 3.133
5.689 3.115
5.676 3.095
5.665 3.074
5.656 3.053
5.649 3.03
5.644 3.007
5.642 2.984
5.642 2.96
END
8 5 2 N 960 1 1 100 100 0 0 0 Y
TLAYNAM B.Cu_thick INH
0.144 3.959
0 3.959
0 4
0.144 4
0.144 3.959
END
END GEO
OPT
MAX 100
END OPT
VARSWP
ENABLED Y
FREQ Y AY ABS_ENTRY 0.01 20.0 -1 300 
VAR WIDTH N 0.1 0.1 UNDEF
END
END VARSWP
```
